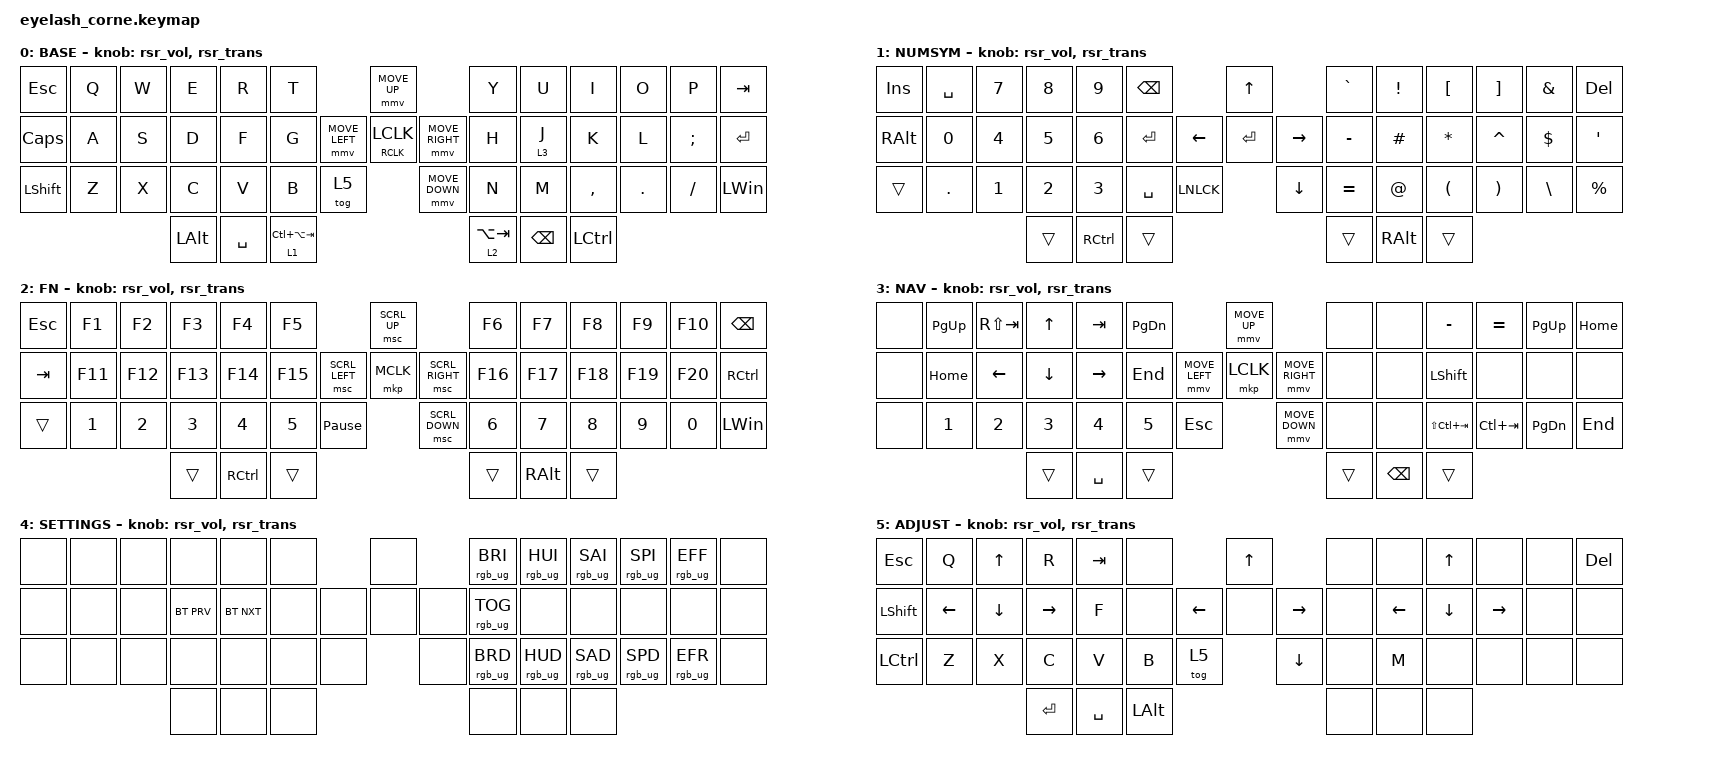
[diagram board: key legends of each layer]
#define ZMK_POINTING_DEFAULT_MOVE_VAL 1200  // 600
#define ZMK_POINTING_DEFAULT_SCRL_VAL 25   // 10

#include <input/processors.dtsi>
#include <zephyr/dt-bindings/input/input-event-codes.h>
#include <behaviors/runtime-sensor-rotate.dtsi>
#include <behaviors.dtsi>
#include <dt-bindings/zmk/bt.h>
#include <dt-bindings/zmk/keys.h>
#include <dt-bindings/zmk/pointing.h>
#include <dt-bindings/zmk/rgb.h>

&soft_off { hold-time-ms = <2000>; };

&lt { quick-tap-ms = <200>; };

/ {
    behaviors {
        td0: td0 {
            compatible = "zmk,behavior-tap-dance";
            display-name = "Shift/Caps Lock Tap Dance";
            #binding-cells = <0>;
            bindings = <&kp LEFT_SHIFT>, <&kp CAPS>;
        };

        rsr_vol: rsr_vol {
            compatible = "zmk,behavior-runtime-sensor-rotate";
            #sensor-binding-cells = <0>;
            tap-ms = <5>;
            cw-binding = <&kp C_VOL_UP>;
            ccw-binding = <&kp C_VOL_DN>;
        };

        rsr_trans: rsr_trans {
            compatible = "zmk,behavior-runtime-sensor-rotate";
            #sensor-binding-cells = <0>;
            tap-ms = <0>;
        };

        lr_clk: lr_clk {
            compatible = "zmk,behavior-hold-tap";
            #binding-cells = <2>;
            tapping-term-ms = <200>;
            bindings = <&mkp>, <&mkp>;
        };

    };

    combos {
        compatible = "zmk,combos";

        softoff {
            bindings = <&soft_off>;
            key-positions = <1 15 29>;
        };
    };

    keymap {
        compatible = "zmk,keymap";

        base_layer {
            display-name = "BASE";
            bindings = <
&kp ESCAPE      &kp Q  &kp W  &kp E         &kp R      &kp T                                        &mmv MOVE_UP                        &kp Y          &kp U          &kp I      &kp O    &kp P     &kp TAB
&kp CAPS        &kp A  &kp S  &kp D         &kp F      &kp G                        &mmv MOVE_LEFT  &lr_clk RCLK LCLK  &mmv MOVE_RIGHT  &kp H          &lt 3 J        &kp K      &kp L    &kp SEMI  &kp ENTER
&kp LEFT_SHIFT  &kp Z  &kp X  &kp C         &kp V      &kp B              &tog 5                    &mmv MOVE_DOWN                      &kp N          &kp M          &kp COMMA  &kp DOT  &kp FSLH  &kp LEFT_WIN
                              &kp LEFT_ALT  &kp SPACE  &lt 1 LC(LA(TAB))                                                                &lt 2 LA(TAB)  &kp BACKSPACE  &kp LCTRL
            >;

            sensor-bindings = <&rsr_vol &rsr_trans>;
        };

        num_sym_layer {
            display-name = "NUMSYM";
            bindings = <
&kp INS        &kp SPACE     &kp NUMBER_7  &kp NUMBER_8  &kp NUMBER_9  &kp BACKSPACE                               &kp UP_ARROW                     &kp GRAVE  &kp EXCLAMATION  &kp LEFT_BRACKET      &kp RIGHT_BRACKET      &kp AMPERSAND  &kp DELETE
&kp RIGHT_ALT  &kp NUMBER_0  &kp NUMBER_4  &kp NUMBER_5  &kp NUMBER_6  &kp ENTER                   &kp LEFT_ARROW  &kp ENTER       &kp RIGHT_ARROW  &kp MINUS  &kp HASH         &kp ASTERISK          &kp CARET              &kp DOLLAR     &kp SINGLE_QUOTE
&trans         &kp DOT       &kp NUMBER_1  &kp NUMBER_2  &kp NUMBER_3  &kp SPACE      &kp LNLCK                    &kp DOWN_ARROW                   &kp EQUAL  &kp AT_SIGN      &kp LEFT_PARENTHESIS  &kp RIGHT_PARENTHESIS  &kp BACKSLASH  &kp PERCENT
                                           &trans        &kp RCTRL     &trans                                                                       &trans     &kp RIGHT_ALT    &trans
            >;

            sensor-bindings = <&rsr_vol &rsr_trans>;
        };

        fn_layer {
            display-name = "FN";
            bindings = <
&kp ESCAPE  &kp F1        &kp F2        &kp F3        &kp F4        &kp F5                                           &msc SCRL_UP                     &kp F6        &kp F7         &kp F8        &kp F9        &kp F10       &kp BSPC
&kp TAB     &kp F11       &kp F12       &kp F13       &kp F14       &kp F15                          &msc SCRL_LEFT  &mkp MCLK       &msc SCRL_RIGHT  &kp F16       &kp F17        &kp F18       &kp F19       &kp F20       &kp RCTRL
&trans      &kp NUMBER_1  &kp NUMBER_2  &kp NUMBER_3  &kp NUMBER_4  &kp NUMBER_5  &kp PAUSE_BREAK                    &msc SCRL_DOWN                   &kp NUMBER_6  &kp NUMBER_7   &kp NUMBER_8  &kp NUMBER_9  &kp NUMBER_0  &kp LEFT_WIN
                                        &trans        &kp RCTRL     &trans                                                                            &trans        &kp RIGHT_ALT  &trans
            >;

            sensor-bindings = <&rsr_vol &rsr_trans>;
        };

        nav_layer {
            display-name = "NAV";
            bindings = <
&none  &kp PAGE_UP   &kp RS(TAB)     &kp UP_ARROW  &kp TAB          &kp PAGE_DOWN                                &mmv MOVE_UP                     &none   &none          &kp MINUS        &kp EQUAL    &kp PAGE_UP    &kp HOME
&none  &kp HOME      &kp LEFT_ARROW  &kp DOWN      &kp RIGHT_ARROW  &kp END                      &mmv MOVE_LEFT  &mkp LCLK       &mmv MOVE_RIGHT  &none   &none          &kp LEFT_SHIFT   &none        &none          &none
&none  &kp NUMBER_1  &kp NUMBER_2    &kp NUMBER_3  &kp NUMBER_4     &kp NUMBER_5   &kp ESCAPE                    &mmv MOVE_DOWN                   &none   &none          &kp LS(LC(TAB))  &kp LC(TAB)  &kp PAGE_DOWN  &kp END
                                     &trans        &kp SPACE        &trans                                                                        &trans  &kp BACKSPACE  &trans
            >;

            sensor-bindings = <&rsr_vol &rsr_trans>;
        };

        settings_layer {
            display-name = "SETTINGS";
            bindings = <
&none  &none  &none  &none       &none       &none                  &none         &rgb_ug RGB_BRI  &rgb_ug RGB_HUI  &rgb_ug RGB_SAI  &rgb_ug RGB_SPI  &rgb_ug RGB_EFF  &none
&none  &none  &none  &bt BT_PRV  &bt BT_NXT  &none           &none  &none  &none  &rgb_ug RGB_TOG  &none            &none            &none            &none            &none
&none  &none  &none  &none       &none       &none  &none           &none         &rgb_ug RGB_BRD  &rgb_ug RGB_HUD  &rgb_ug RGB_SAD  &rgb_ug RGB_SPD  &rgb_ug RGB_EFR  &none
                     &none       &none       &none                                &none            &none            &none
            >;

            sensor-bindings = <&rsr_vol &rsr_trans>;
        };

        adjust_layer {
            display-name = "ADJUST";
            bindings = <
&kp ESCAPE      &kp Q           &kp UP_ARROW    &kp R            &kp TAB    &none                                   &kp UP_ARROW                     &none  &none           &kp UP_ARROW  &none            &none  &kp DELETE
&kp LEFT_SHIFT  &kp LEFT_ARROW  &kp DOWN_ARROW  &kp RIGHT_ARROW  &kp F      &none                   &kp LEFT_ARROW  &none           &kp RIGHT_ARROW  &none  &kp LEFT_ARROW  &kp DOWN      &kp RIGHT_ARROW  &none  &none
&kp LCTRL       &kp Z           &kp X           &kp C            &kp V      &kp B         &tog 5                    &kp DOWN_ARROW                   &none  &kp M           &none         &none            &none  &none
                                                &kp ENTER        &kp SPACE  &kp LEFT_ALT                                                             &none  &none           &none
            >;

            sensor-bindings = <&rsr_vol &rsr_trans>;
        };
    };

    conditional_layers {
        compatible = "zmk,conditional-layers";

        UTIL {
            if-layers = <1 2>;
            then-layer = <4>;
        };
    };
};
